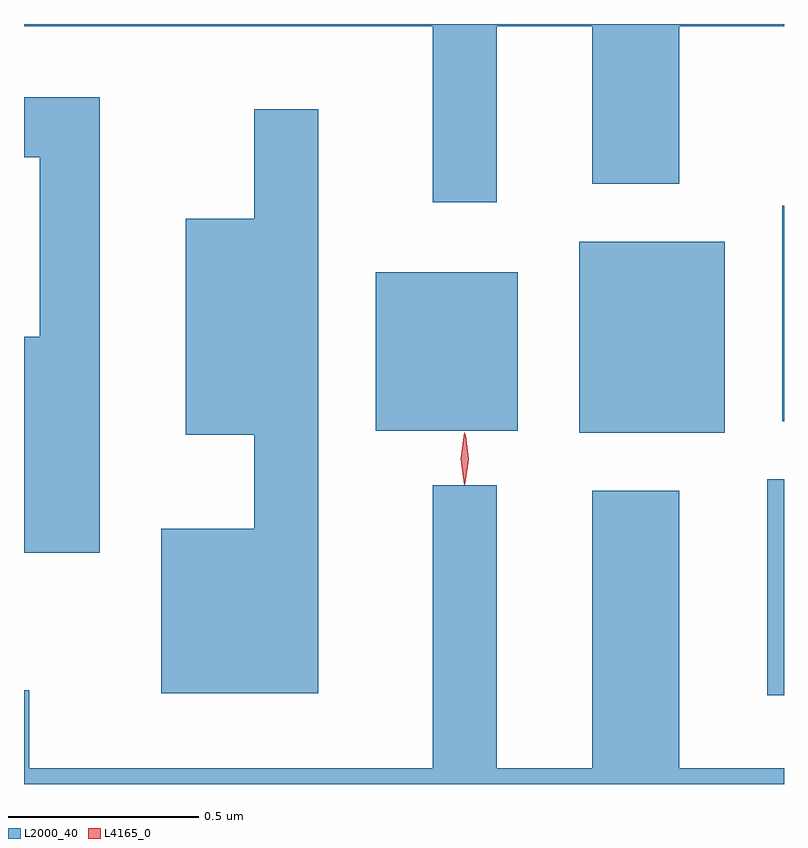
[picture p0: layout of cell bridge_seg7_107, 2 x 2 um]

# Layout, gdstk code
import gdstk
lib = gdstk.Library(unit=1e-6, precision=1e-09)
def R(c, l, rs):  # rectangles x0, y0, x1, y1
    for r in rs: c.add(gdstk.rectangle(r[:2], r[2:], *l))
def P(c, l, *ps):  # polygons
    for p in ps: c.add(gdstk.Polygon(p, *l))
L2000_40 = (2000, 40)
L4165_0 = (4165, 0)

bridge_seg7_107 = lib.new_cell('bridge_seg7_107')
R(bridge_seg7_107, L2000_40, [(1632.511,1772.496,1632.555,1773.064), (1632.016,1773.186,1632.399,1773.689), (1631.481,1773.191,1631.854,1773.609), (1632.551,1773.216,1632.555,1773.784)])
P(bridge_seg7_107, L2000_40, [(1631.799,1774.256),(1632.051,1774.256),(1632.051,1773.841),(1632.279,1773.841),(1632.279,1774.256),(1632.555,1774.256),(1632.555,1774.262),(1630.555,1774.262),(1630.555,1774.256),(1631.631,1774.256),(1631.631,1773.793),(1631.799,1773.793)],
  [(1630.754,1774.069),(1630.555,1774.069),(1630.555,1773.911),(1630.596,1773.911),(1630.596,1773.439),(1630.555,1773.439),(1630.555,1772.871),(1630.754,1772.871)],
  [(1631.329,1774.038),(1631.161,1774.038),(1631.161,1773.749),(1630.981,1773.749),(1630.981,1773.181),(1631.161,1773.181),(1631.161,1772.934),(1630.916,1772.934),(1630.916,1772.501),(1631.329,1772.501)],
  [(1632.555,1772.304),(1632.279,1772.304),(1632.279,1773.034),(1632.051,1773.034),(1632.051,1772.304),(1631.799,1772.304),(1631.799,1773.048),(1631.631,1773.048),(1631.631,1772.304),(1630.569,1772.304),(1630.569,1772.509),(1630.555,1772.509),(1630.555,1772.262),(1632.555,1772.262)])
P(bridge_seg7_107, L4165_0, [(1631.714,1773.05),(1631.714,1773.05),(1631.704,1773.118),(1631.714,1773.186),(1631.714,1773.186),(1631.715,1773.186),(1631.724,1773.118),(1631.715,1773.05)],
  [(1631.715,1773.053),(1631.715,1773.053),(1631.706,1773.117),(1631.716,1773.181),(1631.717,1773.182),(1631.717,1773.181),(1631.726,1773.117),(1631.716,1773.053)])

lib.write_gds('bridge_seg7_107.gds')
